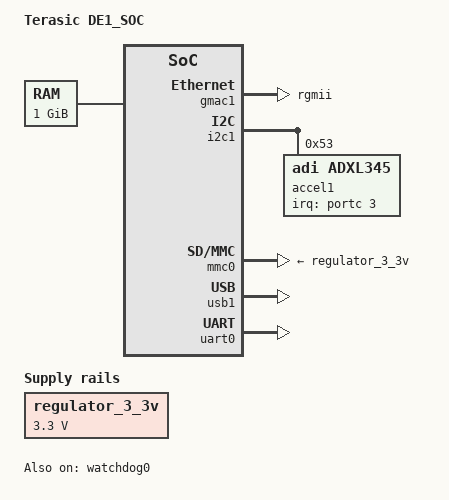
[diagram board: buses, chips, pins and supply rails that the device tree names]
/*
 *  Copyright (C) 2013 Steffen Trumtrar <s.trumtrar@pengutronix.de>
 *
 * This program is free software; you can redistribute it and/or modify
 * it under the terms of the GNU General Public License as published by
 * the Free Software Foundation; either version 2 of the License, or
 * (at your option) any later version.
 *
 * This program is distributed in the hope that it will be useful,
 * but WITHOUT ANY WARRANTY; without even the implied warranty of
 * MERCHANTABILITY or FITNESS FOR A PARTICULAR PURPOSE.  See the
 * GNU General Public License for more details.
 *
 * You should have received a copy of the GNU General Public License
 * along with this program.  If not, see <http://www.gnu.org/licenses/>.
 */

#include "socfpga_cyclone5.dtsi"

/ {
	model = "Terasic DE1_SOC";
	compatible = "altr,socfpga-cyclone5", "altr,socfpga";

	chosen {
		bootargs = "earlyprintk";
		stdout-path = "serial0:115200n8";
	};

	memory {
		name = "memory";
		device_type = "memory";
		reg = <0x0 0x40000000>; /* 1GB */
	};

	aliases {
		/* this allow the ethaddr uboot environmnet variable contents
		 * to be added to the gmac1 device tree blob.
		 */
		ethernet0 = &gmac1;
	};

	regulator_3_3v: vcc3p3-regulator {
		compatible = "regulator-fixed";
		regulator-name = "VCC3P3";
		regulator-min-microvolt = <3300000>;
		regulator-max-microvolt = <3300000>;
	};
	
	hps_0_bridges: bridge@0xc0000000 {
		compatible = "altr,bridge-14.1", "simple-bus";
		reg = <0xc0000000 0x20000000>,
			<0xff200000 0x00200000>;
		reg-names = "axi_h2f", "axi_h2f_lw";
		#address-cells = <2>;
		#size-cells = <1>;
		ranges = <0x00000000 0x00000000 0xc0000000 0x00010000>,
			<0x00000001 0x00000100 0xFF200100 0x00000080>,
			<0x00000001 0x00010040 0xFF210040 0x00000020>,
			<0x00000001 0x00010080 0xFF210080 0x00000010>,
			<0x00000001 0x000100C0 0xFF2100C0 0x00000010>;

		alt_vip_vfr_1: vip2@0x100 {	
			compatible = "ALTR,vip-frame-reader-13.0", "ALTR,vip-frame-reader-9.1";
			reg = <0x00000001 0x00000100 0x00000080 >;
			max-width = < 1024 >;	
			max-height = < 768 >;	
			mem-word-width = < 128 >;
			bits-per-color = < 8 >;				
			}; //end vip@0x40100 (alt_vip_vfr_0)

		acl_iface_led_pio: gpio@0x100010040 {
			compatible = "ALTR,pio-13.1", "ALTR,pio-1.0", "altr,pio-1.0";
			reg = <0x00000001 0x00010040 0x00000020 >;
			width = < 4 >;	/* embeddedsw.dts.params.width type NUMBER */
			resetvalue = < 0 >;	/* embeddedsw.dts.params.resetvalue type NUMBER */
			#gpio-cells = < 2 >;
			gpio-controller;
			}; //end gpio@0x100010040 (acl_iface_led_pio)
		acl_iface_dipsw_pio: gpio@0x100010080 {
			compatible = "ALTR,pio-13.1", "ALTR,pio-1.0", "altr,pio-1.0";
			reg = <0x00000001 0x00010080 0x00000010 >;
			interrupt-parent = < &intc >;
			interrupts = < 0 41 1 >;
			width = < 4 >;	/* embeddedsw.dts.params.width type NUMBER */
			resetvalue = < 0 >;	/* embeddedsw.dts.params.resetvalue type NUMBER */
			edge_type = < 2 >;	/* embeddedsw.dts.params.edge_type type NUMBER */
			level_trigger = < 0 >;	/* embeddedsw.dts.params.level_trigger type NUMBER */
			#gpio-cells = < 2 >;
			gpio-controller;
			}; //end gpio@0x100010080 (acl_iface_dipsw_pio)

		acl_iface_button_pio: gpio@0x1000100C0 {
			compatible = "ALTR,pio-13.1", "ALTR,pio-1.0", "altr,pio-1.0";
			reg = <0x00000001 0x000100C0 0x00000010 >;
			interrupt-parent = < &intc >;
			interrupts = < 0 42 1 >;
			width = < 2 >;	/* embeddedsw.dts.params.width type NUMBER */
			resetvalue = < 0 >;	/* embeddedsw.dts.params.resetvalue type NUMBER */
			edge_type = < 1 >;	/* embeddedsw.dts.params.edge_type type NUMBER */
			level_trigger = < 0 >;	/* embeddedsw.dts.params.level_trigger type NUMBER */
			#gpio-cells = < 2 >;
			gpio-controller;
			}; //end gpio@0x1000100C0 (acl_iface_button_pio)

	}; //end bridge@0xc0000000 (hps_0_bridges)
	
};

&gmac1 {
	status = "okay";
	phy-mode = "rgmii";

	rxd0-skew-ps = <0>;
	rxd1-skew-ps = <0>;
	rxd2-skew-ps = <0>;
	rxd3-skew-ps = <0>;
	txen-skew-ps = <0>;
	txc-skew-ps = <2600>;
	rxdv-skew-ps = <0>;
	rxc-skew-ps = <2000>;
};

&gpio0 {	/* GPIO 0..29 */
	status = "okay";
};

&gpio1 {	/* GPIO 30..57 */
	status = "okay";
};

&gpio2 {	/* GPIO 58..66 (HLGPI 0..13 at offset 13) */
	status = "okay";
};

&i2c1 {
	status = "okay";

	accel1: accelerometer@53 {
		compatible = "adi,adxl345";
		reg = <0x53>;

		interrupt-parent = <&portc>;
		interrupts = <3 2>;
	};
};

&mmc0 {
	vmmc-supply = <&regulator_3_3v>;
	vqmmc-supply = <&regulator_3_3v>;
	status = "okay";
};

&usb1 {
	status = "okay";
};

&uart0{
	status = "okay";
};

&watchdog0{
	status = "okay";
};
		
